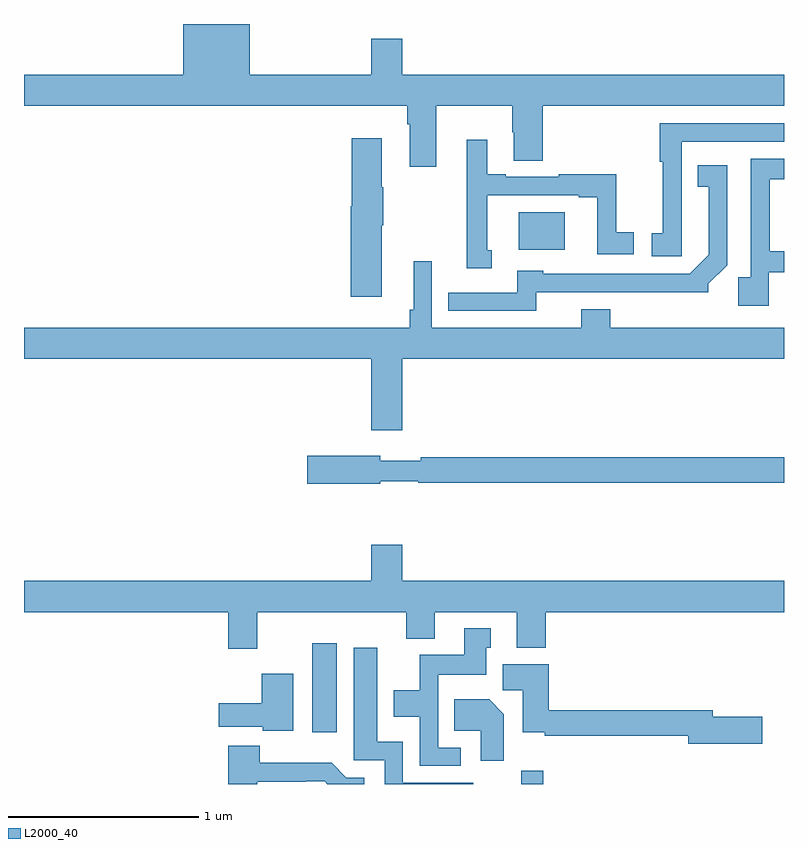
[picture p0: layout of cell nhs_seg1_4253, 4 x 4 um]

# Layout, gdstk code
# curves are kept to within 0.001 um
import gdstk
lib = gdstk.Library(unit=1e-6, precision=1e-09)
def R(c, l, rs):  # rectangles x0, y0, x1, y1
    for r in rs: c.add(gdstk.rectangle(r[:2], r[2:], *l))
def P(c, l, *ps):  # polygons
    for p in ps: c.add(gdstk.Polygon(p, *l))
L2000_40 = (2000, 40)

nhs_seg1_4253 = lib.new_cell('nhs_seg1_4253')
R(nhs_seg1_4253, L2000_40, [(345.616,512.199,345.734,512.269), (344.516,512.472,344.647,512.941), (345.605,515.012,345.847,515.209)])
P(nhs_seg1_4253, L2000_40, [(345.169,515.768),(345.571,515.768),(345.571,515.63),(345.578,515.63),(345.578,515.479),(345.731,515.479),(345.731,515.768),(347,515.768),(347,515.932),(344.992,515.932),(344.992,516.121),(344.828,516.121),(344.828,515.932),(344.188,515.932),(344.188,516.199),(343.838,516.199),(343.838,515.932),(343,515.932),(343,515.768),(345.017,515.768),(345.017,515.672),(345.029,515.672),(345.029,515.448),(345.169,515.448)],
  [(346.462,515.252),(346.461,515.252),(346.461,515.58),(347,515.58),(347,515.676),(346.345,515.676),(346.345,515.473),(346.363,515.473),(346.363,515.097),(346.305,515.097),(346.305,514.977),(346.462,514.977)],
  [(344.884,515.141),(344.892,515.141),(344.892,515.341),(344.884,515.341),(344.884,515.599),(344.726,515.599),(344.726,515.241),(344.72,515.241),(344.72,514.764),(344.884,514.764)],
  [(345.463,515.007),(345.439,515.007),(345.439,515.298),(345.92,515.298),(345.92,515.286),(346.016,515.286),(346.016,514.986),(346.21,514.986),(346.21,515.102),(346.116,515.102),(346.116,515.407),(345.814,515.407),(345.814,515.394),(345.535,515.394),(345.535,515.407),(345.439,515.407),(345.439,515.59),(345.329,515.59),(345.329,515.345),(345.33,515.345),(345.33,514.913),(345.463,514.913)],
  [(346.92,514.893),(347,514.893),(347,515.002),(346.925,515.002),(346.925,515.382),(347,515.382),(347,515.49),(346.824,515.49),(346.824,514.867),(346.759,514.867),(346.759,514.716),(346.92,514.716)],
  [(345.696,514.788),(346.602,514.787),(346.602,514.831),(346.701,514.93),(346.701,515.455),(346.546,515.455),(346.546,515.342),(346.604,515.342),(346.604,514.985),(346.503,514.884),(345.732,514.884),(345.732,514.9),(345.596,514.9),(345.596,514.785),(345.232,514.785),(345.232,514.689),(345.696,514.689)],
  [(344.992,514.436),(347,514.436),(347,514.6),(346.085,514.6),(346.085,514.699),(345.932,514.699),(345.932,514.6),(345.147,514.6),(345.147,514.951),(345.05,514.951),(345.05,514.696),(345.031,514.696),(345.031,514.6),(343,514.6),(343,514.436),(344.828,514.436),(344.828,514.062),(344.992,514.062)],
  [(344.874,513.792),(345.074,513.792),(345.074,513.784),(347,513.784),(347,513.92),(345.088,513.92),(345.088,513.901),(344.874,513.901),(344.874,513.926),(344.49,513.926),(344.49,513.779),(344.874,513.779)],
  [(344.227,513.104),(345.011,513.104),(345.011,512.963),(345.163,512.963),(345.163,513.104),(345.593,513.104),(345.593,512.915),(345.746,512.915),(345.746,513.104),(347,513.104),(347,513.268),(344.992,513.268),(344.992,513.457),(344.828,513.457),(344.828,513.268),(343,513.268),(343,513.104),(344.075,513.104),(344.075,512.91),(344.227,512.91)],
  [(345.298,512.391),(345.18,512.391),(345.18,512.774),(345.433,512.774),(345.433,512.916),(345.457,512.916),(345.457,513.019),(345.317,513.019),(345.317,512.878),(345.082,512.878),(345.082,512.692),(344.945,512.692),(344.945,512.552),(345.084,512.552),(345.084,512.295),(345.298,512.295)],
  [(345.364,512.206),(344.994,512.206),(344.994,512.422),(344.86,512.422),(344.86,512.917),(344.735,512.917),(344.735,512.325),(344.898,512.325),(344.898,512.199),(345.364,512.199)],
  [(346.885,512.552),(346.624,512.552),(346.624,512.588),(345.761,512.588),(345.761,512.83),(345.521,512.83),(345.521,512.692),(345.626,512.692),(345.626,512.471),(345.742,512.471),(345.742,512.452),(346.496,512.452),(346.496,512.41),(346.885,512.41)],
  [(344.416,512.779),(344.252,512.779),(344.252,512.623),(344.025,512.623),(344.025,512.501),(344.256,512.501),(344.256,512.48),(344.416,512.48)],
  [(345.526,512.566),(345.448,512.644),(345.265,512.644),(345.265,512.48),(345.404,512.48),(345.404,512.322),(345.526,512.322)],
  [(344.227,512.211),(344.483,512.211),(344.483,512.214),(344.582,512.214),(344.597,512.199),(344.791,512.199),(344.791,512.232),(344.697,512.232),(344.619,512.311),(344.24,512.311),(344.24,512.401),(344.075,512.401),(344.075,512.199),(344.227,512.199)])

lib.write_gds('nhs_seg1_4253.gds')
